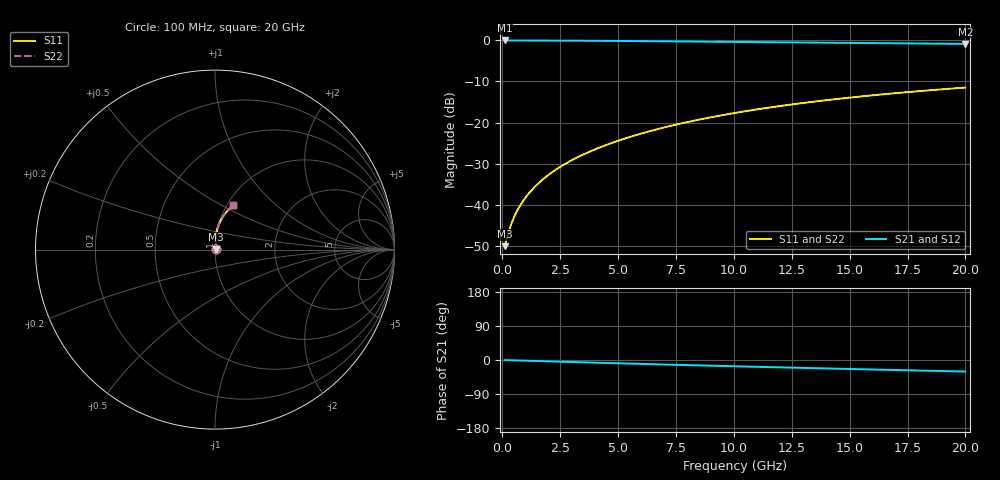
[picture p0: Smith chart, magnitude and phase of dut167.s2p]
! Touchstone file exported from HFSS 2024.1.0
!  File:  C:/UserFiles/LocalFiles/RDL_TSV_Batchsim/temp_RDL_bottom_167_1778698087.aedt
!  Generated:  02:50:34 AM May 14, 2026
!  Design:  RDL_bottom
!  Project:  temp_RDL_bottom_167_1778698087
!  Setup:  Setup1
!  Solution:  Sweep
! Variables:
!  dtsv = 10.80580581um
!  hbump = 3um
!  htsv = 93.28um
!  ldown = 436.95um
!  lrdl = 100um
!  p = 40
!  p1 = 44.48um
!  rhole = 1um
!  t = 450um
!  tdown = 2.54um
!  trdl = 3.915915916um
!  wdown = 24.01um
!  wrdl = 20um
# GHz S MA R 50.000000
! Terminal data exported
! Port[1] = RDL1_T1
! Port[2] = RDL1_T2
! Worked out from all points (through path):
!   200 points, 100 MHz to 20 GHz, reference 50 ohm
!   highest |S21| = -0.02 dB at 100 MHz (marker M1); lowest = -0.9 dB at 20 GHz (marker M2)
!   group delay of S21, straight-line fit = 4.2 ps
!   lowest |S11| = -50.1 dB at 100 MHz (marker M3), VSWR 1.01, Z = 50.3 + j0.133 ohm
!   |S11| at or under -10 dB: start of sweep to end of sweep
!   |S22| runs from -50.1 to -11.5 dB; largest |S21 - S12| = 2.7e-15
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0.1  0.003137 24.9  0.9971 -0.2  0.9971 -0.2  0.003137 24.9
! Gamma 0 0 0 0
! Port Impedance 50 0 50 0
0.3  0.004915 51.3  0.9969 -0.6  0.9969 -0.6  0.004915 51.3
0.4  0.005947 57.4  0.9967 -0.7  0.9967 -0.7  0.005947 57.4
0.6  0.008025 64.9  0.9963 -1.1  0.9963 -1.1  0.008025 64.9
0.7  0.009063 67.4  0.9962 -1.3  0.9962 -1.3  0.009063 67.4
0.9  0.01115 71.3  0.9959 -1.6  0.9959 -1.6  0.01115 71.3
1.2  0.01434 75.4  0.9954 -2.2  0.9954 -2.2  0.01434 75.4
1.4  0.0165 77.4  0.9951 -2.5  0.9951 -2.5  0.0165 77.4
1.7  0.01981 79.6  0.9945 -3.1  0.9945 -3.1  0.01981 79.6
2.2  0.02546 82.2  0.9934 -3.9  0.9934 -3.9  0.02546 82.2
2.8  0.03246 84.1  0.9917 -5.0  0.9917 -5.0  0.03246 84.1
3.5  0.04091 85.4  0.9894 -6.2  0.9894 -6.2  0.04091 85.4
4.2  0.04968 86.2  0.9868 -7.4  0.9868 -7.4  0.04967 86.2
5  0.06005 86.5  0.9834 -8.7  0.9834 -8.7  0.06004 86.5
5.9  0.07212 86.4  0.9792 -10.2  0.9792 -10.2  0.0721 86.4
6.8  0.08453 85.9  0.9748 -11.6  0.9748 -11.6  0.08451 85.9
8.4  0.1072 84.4  0.9666 -14.1  0.9666 -14.1  0.1072 84.4
10.1  0.1317 82.3  0.9576 -16.7  0.9576 -16.7  0.1316 82.3
11.7  0.1547 80.1  0.9491 -19.0  0.9491 -19.0  0.1547 80.0
13.4  0.1789 77.5  0.9401 -21.5  0.9401 -21.5  0.1788 77.5
16.7  0.2242 72.5  0.9227 -26.1  0.9227 -26.1  0.2241 72.4
20  0.2666 67.5  0.9053 -30.5  0.9053 -30.5  0.2665 67.5
